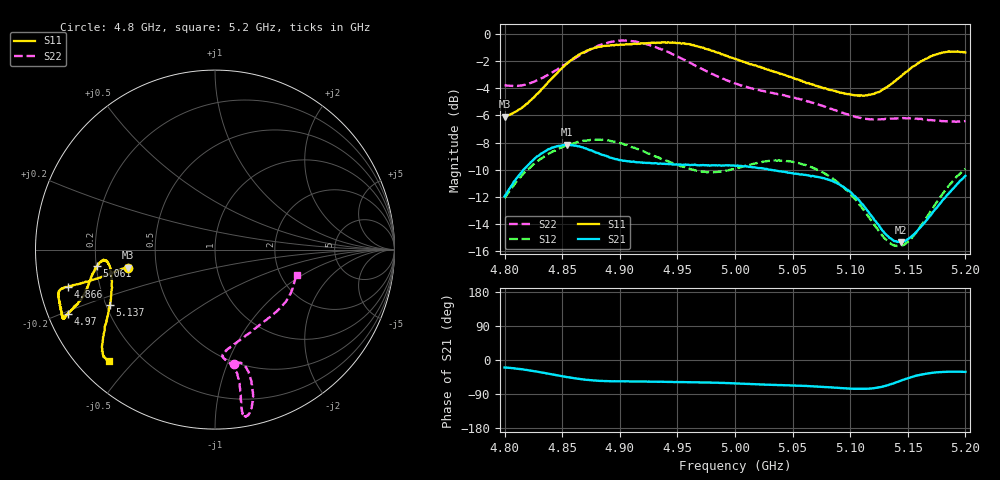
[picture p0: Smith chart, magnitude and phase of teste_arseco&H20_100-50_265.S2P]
! Network Analyzer HP8722D
! Hewlett-Packard
! Data name: Linha & Wilkinson
! Saver's name: Rodrigo Anjos
! Comments: Teste da utilização de aquisição
! continua pelo VNA HP8722D
! Time and date: 6/5/2025 14:46
!  Frequency  S11  S21  S12  S22
# HZ  S  MA R 50
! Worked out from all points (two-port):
!   401 points, 4.8 GHz to 5.2 GHz, reference 50 ohm
!   highest |S21| = -8.16 dB at 4.854 GHz (marker M1); lowest = -15.3 dB at 5.144 GHz (marker M2)
!   |S21| within 3 dB of the highest: 4.806 GHz to 5.092 GHz (286.1 MHz wide, 5.78 % of centre); 5.191791 GHz to end of sweep
!   lowest |S11| = -6.1 dB at 4.8 GHz (marker M3), VSWR 2.97, Z = 17 - j4.56 ohm
!   |S11| at or under -10 dB: nowhere
!   |S22| runs from -6.5 to -0.5 dB; largest |S21 - S12| = 0.62
!   S11 on the Smith chart (normalised r, x): 4.8 GHz: 0.34, -0.09; 4.866 GHz: 0.09, -0.12; 4.97 GHz: 0.06, -0.21; 5.061 GHz: 0.20, -0.07; 5.137 GHz: 0.22, -0.24; 5.2 GHz: 0.09, -0.43
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4.8e9  0.4965 -168.2  0.2525 -19.7  0.2487 -140.9  0.6476 -80.4
4.827e9  0.5938 -167.2  0.3504 -30.0  0.3363 -144.6  0.671 -75.5
4.854e9  0.7767 -165.9  0.3909 -45.1  0.3885 -149.8  0.7785 -74.8
4.866e9  0.8446 -165.8  0.3842 -50.4  0.4019 -151.9  0.8378 -75.4
4.867e9  0.8492 -165.8  0.383 -50.9  0.4028 -152.0  0.8427 -75.4
4.88e9  0.8907 -165.5  0.3656 -54.6  0.4083 -154.1  0.8971 -76.8
4.901e9  0.9131 -162.3  0.3429 -56.3  0.3957 -156.8  0.9452 -79.3
4.934e9  0.9276 -156.7  0.3326 -57.6  0.351 -155.6  0.8828 -80.5
4.97e9  0.8929 -156.4  0.3291 -59.2  0.3123 -147.0  0.7469 -79.6
5e9  0.8101 -159.1  0.3273 -61.8  0.3196 -137.2  0.6568 -81.4
5.036e9  0.7227 -165.6  0.3138 -66.0  0.3417 -134.4  0.6026 -85.7
5.061e9  0.6629 -172.0  0.3031 -68.4  0.3294 -136.4  0.5692 -83.8
5.067e9  0.6513 -172.9  0.3005 -69.2  0.323 -136.7  0.5584 -82.6
5.086e9  0.6168 -174.4  0.2856 -72.9  0.2914 -138.5  0.5247 -75.3
5.103e9  0.5962 -171.6  0.2547 -76.1  0.25 -138.7  0.4974 -65.2
5.116e9  0.5969 -165.5  0.2212 -75.9  0.2123 -135.5  0.4855 -55.8
5.134e9  0.6455 -154.2  0.1777 -65.3  0.1705 -120.7  0.487 -43.3
5.137e9  0.6596 -152.3  0.1744 -62.4  0.1674 -116.8  0.4875 -41.4
5.144e9  0.6977 -148.7  0.1712 -54.6  0.1656 -107.4  0.4893 -37.6
5.155e9  0.7594 -144.1  0.1825 -43.5  0.1809 -93.9  0.4885 -31.9
5.174e9  0.8383 -138.5  0.2268 -32.9  0.2365 -80.4  0.4794 -23.9
5.2e9  0.8538 -133.6  0.3005 -31.3  0.3188 -76.9  0.4779 -17.5
